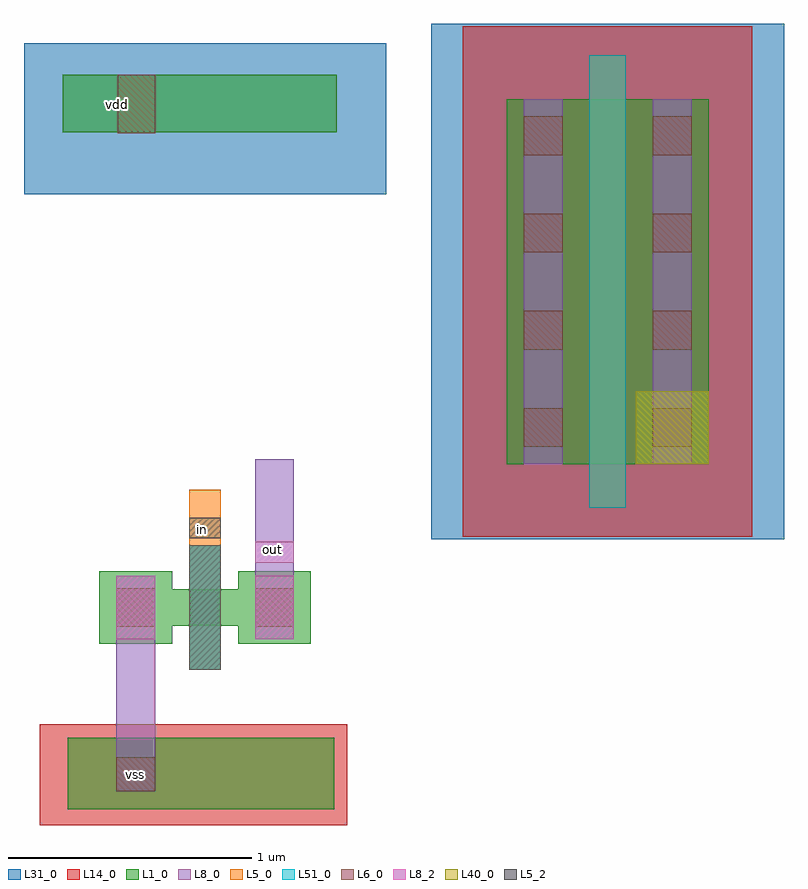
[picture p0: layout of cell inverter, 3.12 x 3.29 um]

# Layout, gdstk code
import gdstk
lib = gdstk.Library(unit=1e-6, precision=5e-09)
def R(c, l, rs):  # rectangles x0, y0, x1, y1
    for r in rs: c.add(gdstk.rectangle(r[:2], r[2:], *l))
def A(c, l, x, y, w, h, nx, ny, dx, dy):  # array of equal rectangles
    R(c, l, [(x+i*dx, y+j*dy, x+i*dx+w, y+j*dy+h) for i in range(nx) for j in range(ny)])
L1_0 = (1, 0)
L5_0 = (5, 0)
L5_2 = (5, 2)
L6_0 = (6, 0)
L8_0 = (8, 0)
L8_2 = (8, 2)
L14_0 = (14, 0)
L31_0 = (31, 0)
L40_0 = (40, 0)
L51_0 = (51, 0)

pmos = lib.new_cell('pmos')
R(pmos, L1_0, [(0,0,0.3,0.3), (0,0,0.83,1.5), (0.53,0,0.83,0.3)])
R(pmos, L5_0, [(0.34,-0.18,0.49,1.68), (0.34,-0.18,0.49,1.68)])
A(pmos, L6_0, 0.07, 0.07, 0.16, 0.16, 1, 4, 0, 0.4)
A(pmos, L6_0, 0.6, 0.07, 0.16, 0.16, 1, 4, 0, 0.4)
R(pmos, L8_0, [(0.07,0,0.23,1.5), (0.07,0,0.23,1.5), (0.6,0,0.76,1.5), (0.6,0,0.76,1.5)])
R(pmos, L14_0, [(-0.18,-0.3,1.01,1.8)])
R(pmos, L31_0, [(-0.31,-0.31,1.14,1.81)])
R(pmos, L40_0, [(0.53,0,0.83,0.3)])
R(pmos, L51_0, [(0.34,-0.18,0.49,1.68)])
pmos.add(gdstk.Label('pmos', (0.415,0.75), layer=63, texttype=0))
pmos.add(gdstk.Label('pmos', (0.415,0.75), layer=51, texttype=0))

nmos = lib.new_cell('nmos')
R(nmos, L1_0, [(0,0,0.3,0.3), (0.57,0,0.87,0.3), (0,0.075,0.87,0.225)])
R(nmos, L5_0, [(0.37,-0.105,0.5,0.405)])
R(nmos, L5_2, [(0.37,-0.105,0.5,0.405)])
R(nmos, L6_0, [(0.07,0.07,0.23,0.23), (0.64,0.07,0.8,0.23)])
R(nmos, L8_0, [(0.07,0.02,0.23,0.28), (0.64,0.02,0.8,0.28)])
R(nmos, L8_2, [(0.07,0.02,0.23,0.28), (0.64,0.02,0.8,0.28)])
R(nmos, L51_0, [(0.37,-0.105,0.5,0.405)])
nmos.add(gdstk.Label('nmos', (0.435,0.15), layer=63, texttype=0))
nmos.add(gdstk.Label('nmos', (0.435,0.15), layer=51, texttype=0))

inverter = lib.new_cell('inverter')
R(inverter, L1_0, [(-0.745,-1.005,0.35,-0.71), (-0.765,1.78,0.36,2.015)])
R(inverter, L5_0, [(-0.245,0.08,-0.115,0.31), (-0.245,0.08,-0.115,0.31)])
R(inverter, L5_2, [(-0.245,0.11,-0.115,0.195)])
R(inverter, L6_0, [(-0.545,-0.93,-0.385,-0.79), (-0.54,1.775,-0.385,2.015)])
R(inverter, L8_0, [(-0.545,-0.93,-0.385,-0.045), (0.025,-0.045,0.185,0.435)])
R(inverter, L8_2, [(0.025,0.01,0.185,0.095)])
R(inverter, L14_0, [(-0.86,-1.07,0.405,-0.655)])
R(inverter, L31_0, [(-0.925,1.525,0.565,2.145)])
inverter.add(gdstk.Reference(pmos, (1.06,0.415)))
inverter.add(gdstk.Reference(nmos, (-0.615,-0.325)))
inverter.add(gdstk.Label('vss', (-0.465,-0.86), layer=14, texttype=0))
inverter.add(gdstk.Label('vdd', (-0.54,1.895), layer=14, texttype=0))
inverter.add(gdstk.Label('out', (0.095,0.065), layer=8, texttype=2))
inverter.add(gdstk.Label('in', (-0.19,0.145), layer=5, texttype=2))

lib.write_gds('inverter.gds')
